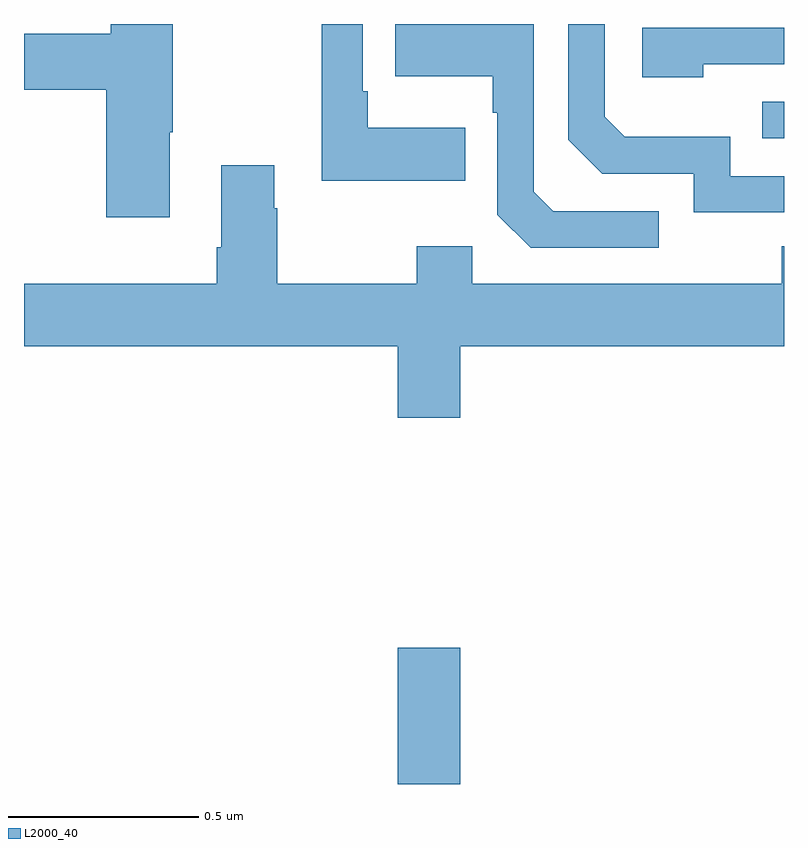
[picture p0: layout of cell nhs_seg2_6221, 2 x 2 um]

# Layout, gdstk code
import gdstk
lib = gdstk.Library(unit=1e-6, precision=1e-09)
def R(c, l, rs):  # rectangles x0, y0, x1, y1
    for r in rs: c.add(gdstk.rectangle(r[:2], r[2:], *l))
def P(c, l, *ps):  # polygons
    for p in ps: c.add(gdstk.Polygon(p, *l))
L2000_40 = (2000, 40)

nhs_seg2_6221 = lib.new_cell('nhs_seg2_6221')
R(nhs_seg2_6221, L2000_40, [(188.984,663.8,189.148,664.159), (189.943,665.499,190,665.595)])
P(nhs_seg2_6221, L2000_40, [(189.67,665.307),(189.393,665.307),(189.342,665.358),(189.342,665.8),(188.977,665.8),(188.977,665.663),(189.234,665.663),(189.234,665.567),(189.246,665.567),(189.246,665.298),(189.333,665.211),(189.67,665.211)],
  [(190,665.4),(189.858,665.4),(189.858,665.503),(189.581,665.503),(189.528,665.556),(189.528,665.8),(189.432,665.8),(189.432,665.496),(189.522,665.406),(189.762,665.406),(189.762,665.304),(190,665.304)],
  [(189.161,665.527),(188.905,665.527),(188.905,665.623),(188.892,665.623),(188.892,665.8),(188.784,665.8),(188.784,665.387),(189.161,665.387)],
  [(188.383,665.515),(188.391,665.515),(188.391,665.8),(188.228,665.8),(188.228,665.774),(188,665.774),(188,665.627),(188.216,665.627),(188.216,665.292),(188.383,665.292)],
  [(189.788,665.694),(190,665.694),(190,665.79),(189.627,665.79),(189.627,665.66),(189.788,665.66)],
  [(189.148,664.952),(190,664.952),(190,665.215),(189.994,665.215),(189.994,665.116),(189.18,665.116),(189.18,665.215),(189.034,665.215),(189.034,665.116),(188.667,665.116),(188.667,665.315),(188.659,665.315),(188.659,665.428),(188.519,665.428),(188.519,665.212),(188.507,665.212),(188.507,665.116),(188,665.116),(188,664.952),(188.984,664.952),(188.984,664.764),(189.148,664.764)])

lib.write_gds('nhs_seg2_6221.gds')
